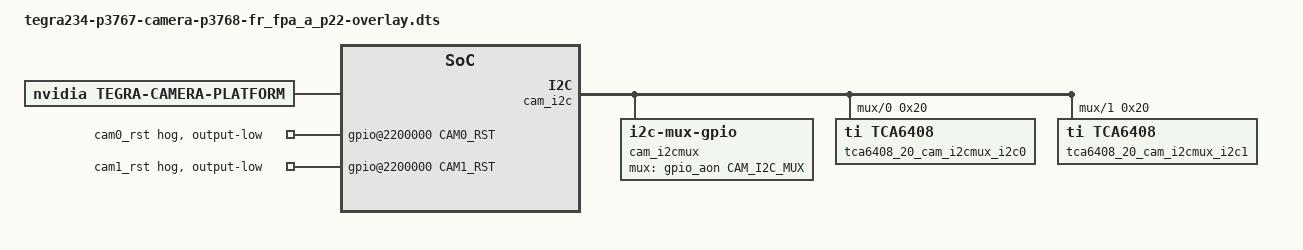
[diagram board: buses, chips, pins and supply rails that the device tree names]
// SPDX-License-Identifier: GPL-2.0
/*
 * Copyright (c) 2024 Framos. All rights reserved.
 *
 * tegra234-p3767-camera-p3768-fr_fpa_a_p22-overlay.dts - FPA-A/P22 device tree
 */

/dts-v1/;
/plugin/;

#include <dt-bindings/clock/tegra234-clock.h>
#include <dt-bindings/gpio/tegra234-gpio.h>
#include <dt-bindings/tegra234-p3767-0000-common.h>


#define CAM_I2C_MUX	TEGRA234_AON_GPIO(CC, 3)

#define CAM0_RST	TEGRA234_MAIN_GPIO(H, 6)
#define CAM1_RST	TEGRA234_MAIN_GPIO(AC, 0)

/* TCA6408 Pxx bus-port define*/
#define PW_EN		0
#define CRESETB		1
#define XMASTER		3

/ {
	overlay-name = "Framos FPA-A/P22";
	jetson-header-name = "Jetson 24pin CSI Connector";
	compatible = JETSON_COMPATIBLE_P3768;

	fragment@0 {
		target-path = "/";
		__overlay__ {
			tegra-camera-platform {
				compatible = "nvidia, tegra-camera-platform";
				num_csi_lanes = <8>;
				max_lane_speed = <2500000>;
				min_bits_per_pixel = <10>;
				vi_peak_byte_per_pixel = <2>;
				vi_bw_margin_pct = <25>;
				max_pixel_rate = <7500000>;
				isp_peak_byte_per_pixel = <5>;
				isp_bw_margin_pct = <25>;
				modules {
					status = "okay";
					sensor_module0: module0 {
						status = "disabled";
						position = "bottomleft";
						orientation = "1";
						drivernode0 {
							status = "disabled";
							/* Declare PCL support driver (classically known as guid) */
							pcl_id = "v4l2_sensor";
						};
					};
					sensor_module1: module1 {
						status = "disabled";
						position = "centerright";
						orientation = "1";
						drivernode0 {
							status = "disabled";
							/* Declare PCL support driver (classically known as guid) */
							pcl_id = "v4l2_sensor";
						};
					};
					sensor_module2: module2 {
						status = "disabled";
						position = "bottomright";
						orientation = "1";
						drivernode0 {
							status = "disabled";
							/* Declare PCL support driver (classically known as guid) */
							pcl_id = "v4l2_sensor";
						};
					};
					sensor_module3: module3 {
						status = "disabled";
						position = "topright";
						orientation = "1";
						drivernode0 {
							status = "disabled";
							/* Declare PCL support driver (classically known as guid) */
							pcl_id = "v4l2_sensor";
						};
					};
				};
			};
			tegra-capture-vi {
				num-channels=<4>;
				ports {
					#address-cells = <1>;
					#size-cells = <0>;
					status = "okay";
					sensor_vi_port0: port@0 {
						reg = <0>;
						status = "disabled";
						sensor_vi_in0: endpoint {
							status = "disabled";
							vc-id = <0>;
							port-index = <0>;
							bus-width = <4>;
							remote-endpoint = <&sensor_csi_ch0_out>;
						};
					};
					sensor_vi_port1: port@1 {
					reg = <1>;
					status = "disabled";
					sensor_vi_in1: endpoint {
						status = "disabled";
						vc-id = <0>;
						port-index = <1>;
						bus-width = <2>;
						remote-endpoint = <&sensor_csi_ch1_out>;
					};
					};
					sensor_vi_port2: port@2 {
						reg = <2>;
						status = "disabled";
						sensor_vi_in2: endpoint {
							status = "disabled";
							vc-id = <0>;
							port-index = <2>;
							bus-width = <4>;
							remote-endpoint = <&sensor_csi_ch2_out>;
						};
					};
					sensor_vi_port3: port@3 {
						reg = <3>;
						status = "disabled";
						sensor_vi_in3: endpoint {
							status = "disabled";
							vc-id = <0>;
							port-index = <3>;
							bus-width = <2>;
							remote-endpoint = <&sensor_csi_ch3_out>;
						};
					};
				};
			};
		};
	};

	fragment@1 {
		target-path = "/bus@0";
		__overlay__ {
			host1x@13e00000 {
				nvcsi@15a00000 {
					num-channels=<4>;
					#address-cells = <1>;
					#size-cells = <0>;
					sensor_csi_ch0: channel@0 {
						reg = <0>;
						status = "disabled";
						ports {
							#address-cells = <1>;
							#size-cells = <0>;
							status = "disabled";
							sensor_csi_ch0_port0: port@0 {
								reg = <0>;
								status = "disabled";
								sensor_csi_ch0_in: endpoint@0 {
									status = "disabled";
									port-index = <0>;
									bus-width = <4>;
								};
							};
							sensor_csi_ch0_port1: port@1 {
								reg = <1>;
								status = "disabled";
								sensor_csi_ch0_out: endpoint@1 {
									status = "disabled";
									remote-endpoint = <&sensor_vi_in0>;
								};
							};
						};
					};
					sensor_csi_ch1: channel@1 {
						reg = <1>;
						status = "disabled";
						ports {
							#address-cells = <1>;
							#size-cells = <0>;
							status = "disabled";
							sensor_csi_ch1_port0: port@0 {
								reg = <0>;
								status = "disabled";
								sensor_csi_ch1_in: endpoint@2 {
									status = "disabled";
									port-index = <1>;
									bus-width = <2>;
								};
								};
								sensor_csi_ch1_port1: port@1 {
								reg = <1>;
								status = "disabled";
								sensor_csi_ch1_out: endpoint@3 {
									status = "disabled";
									remote-endpoint = <&sensor_vi_in1>;
								};
							};
						};
					};
					sensor_csi_ch2: channel@2 {
						reg = <2>;
						status = "disabled";
						ports {
							#address-cells = <1>;
							#size-cells = <0>;
							status = "disabled";
							sensor_csi_ch2_port0: port@0 {
								reg = <0>;
								status = "disabled";
								sensor_csi_ch2_in: endpoint@4 {
									status = "disabled";
									port-index = <2>;
									bus-width = <4>;
								};
							};
							sensor_csi_ch2_port1: port@1 {
								reg = <1>;
								status = "disabled";
								sensor_csi_ch2_out: endpoint@5 {
									status = "disabled";
									remote-endpoint = <&sensor_vi_in2>;
								};
							};
						};
					};
					sensor_csi_ch3: channel@3 {
						reg = <3>;
						status = "disabled";
						ports {
							#address-cells = <1>;
							#size-cells = <0>;
							status = "disabled";
							sensor_csi_ch3_port0: port@0 {
								reg = <0>;
								status = "disabled";
								sensor_csi_ch3_in: endpoint@6 {
									status = "disabled";
									port-index = <3>;
									bus-width = <2>;
								};
							};
							sensor_csi_ch3_port1: port@1 {
								reg = <1>;
								status = "disabled";
								sensor_csi_ch3_out: endpoint@7 {
									status = "disabled";
									remote-endpoint = <&sensor_vi_in3>;
								};
							};
						};
					};
				};

				vi0@15c00000 {
					dma-noncoherent;
				};

				vi0-thi@15f00000 {
					dma-noncoherent;
				};

				vi1@14c00000 {
					dma-noncoherent;
				};

				vi1-thi@14f00000 {
					dma-noncoherent;
				};
			};
			gpio@2200000 {
				som_gpio_cam0_rst {
					gpio-hog;
					output-low;
					gpios = <CAM0_RST 0>;
					label = "cam0_rst";
					status = "okay";
				};
				som_gpio_cam1_rst {
					gpio-hog;
					output-low;
					gpios = <CAM1_RST 0>;
					label = "cam1_rst";
					status = "okay";
				};
			};
			cam_i2cmux: cam_i2cmux {
				status = "okay";
				compatible = "i2c-mux-gpio";
				#address-cells = <1>;
				#size-cells = <0>;
				mux-gpios = <&gpio_aon CAM_I2C_MUX GPIO_ACTIVE_HIGH>;
				i2c-parent = <&cam_i2c>;
			};
		};
	};

	fragment@2 {
		target = <&cam_i2cmux>;
		__overlay__ {
			/* Channel connected to CAM0 */
			cam_i2cmux_i2c0: i2c@0 {
				status = "okay";
				reg = <0>;
				#address-cells = <1>;
				#size-cells = <0>;
				reset-gpios = <&gpio CAM0_RST GPIO_ACTIVE_HIGH>;
				xmaster-gpio = <&tca6408_20_cam_i2cmux_i2c0 XMASTER GPIO_ACTIVE_HIGH>;
				cresetb = <&tca6408_20_cam_i2cmux_i2c0 CRESETB GPIO_ACTIVE_HIGH>;

				tca6408_20_cam_i2cmux_i2c0: tca6408@20 {
					compatible = "ti,tca6408";
					gpio-controller;
					#gpio-cells = <2>;
					reg = <0x20>;
					status = "okay";
					/* P0: PW_EN */
					tca6408_20_i2c0_pw_en {
						gpio-hog;
						output-high;
						gpios = <PW_EN 0>;
						label = "pw_en";
						status = "okay";
					};
					/* P1: CRESETB */
					tca6408_20_i2c0_cresetb {
						gpio-hog;
						output-high;
						gpios = <CRESETB 0>;
						label = "cresetb";
						status = "okay";
					};
					/* P3: XMASTER */
					tca6408_20_i2c0_xmaster {
						gpio-hog;
						output-low;
						gpios = <XMASTER 0>;
						label = "xmaster";
						status = "okay";
					};
				};
			};

			/* Channel connected to CAM1 */
			cam_i2cmux_i2c1: i2c@1 {
				status = "okay";
				reg = <1>;
				#address-cells = <1>;
				#size-cells = <0>;
				reset-gpios = <&gpio CAM1_RST GPIO_ACTIVE_HIGH>;
				xmaster-gpio = <&tca6408_20_cam_i2cmux_i2c1 XMASTER GPIO_ACTIVE_HIGH>;
				cresetb = <&tca6408_20_cam_i2cmux_i2c1 CRESETB GPIO_ACTIVE_HIGH>;
				pwdn-gpios = <&tca6408_20_cam_i2cmux_i2c1 PW_EN GPIO_ACTIVE_HIGH>;

				tca6408_20_cam_i2cmux_i2c1: tca6408@20 {
					compatible = "ti,tca6408";
					gpio-controller;
					#gpio-cells = <2>;
					reg = <0x20>;
					status = "okay";
					/* P0: PW_EN */
					tca6408_20_i2c1_pw_en {
						gpio-hog;
						output-high;
						gpios = <PW_EN 0>;
						label = "pw_en";
						status = "okay";
					};
					/* P1: CRESETB */
					tca6408_20_i2c1_cresetb {
						gpio-hog;
						output-high;
						gpios = <CRESETB 0>;
						label = "cresetb";
						status = "okay";
					};
					/* P3: XMASTER */
					tca6408_20_i2c1_xmaster {
						gpio-hog;
						output-low;
						gpios = <XMASTER 0>;
						label = "xmaster";
						status = "okay";
					};
				};
			};
		};
	};


};
